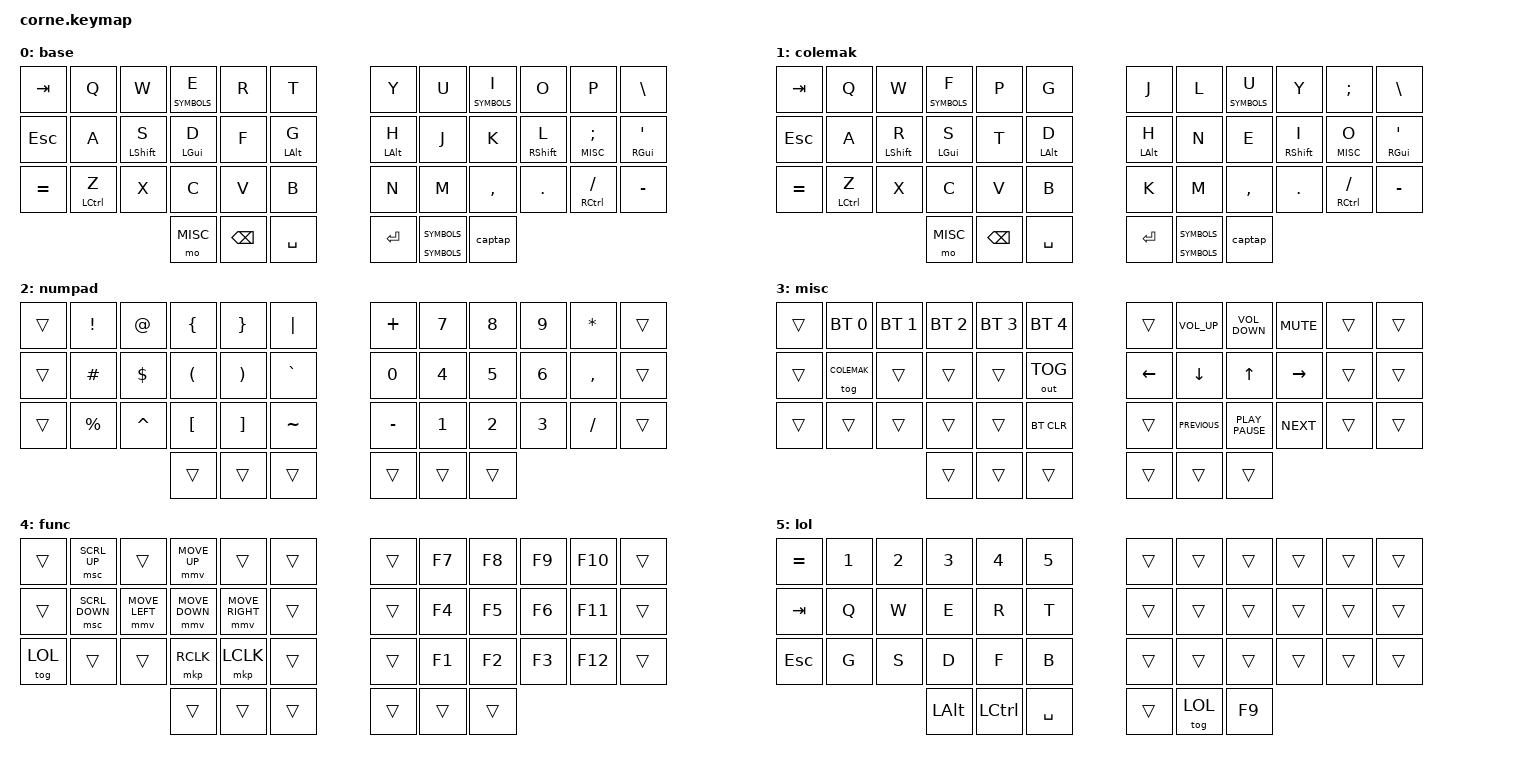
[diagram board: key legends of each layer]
/*
 * Copyright (c) 2020 The ZMK Contributors
 * SPDX-License-Identifier: MIT
 */

#include <behaviors.dtsi>
#include <dt-bindings/zmk/bt.h>
#include <dt-bindings/zmk/keys.h>
#include <dt-bindings/zmk/outputs.h>
#include <dt-bindings/zmk/pointing.h>

#define BASE 0
#define COLEMAK 1
#define SYMBOLS 2
#define MISC 3
#define FUNCTIONS 4
#define LOL 5

#define COMBO_TIMEOUT 70

/* Base layer positions used by combos: top row 1=Q 2=W 3=E 4=R 7=U 8=I; home row 15=D 16=F 18=H 19=J; bottom row 27=C 28=V 30=N 31=M 32=,. */
#define POS_Q 1
#define POS_W 2
#define POS_E 3
#define POS_R 4
#define POS_U 7
#define POS_I 8
#define POS_D 15
#define POS_F 16
#define POS_H 18
#define POS_J 19
#define POS_C 27
#define POS_V 28
#define POS_N 30
#define POS_M 31
#define POS_COMMA 32

/* LOL layer positions used by combos: top row 1=N1; home row 17=T */
#define LOL_POS_N1 1
#define LOL_POS_T 17

&caps_word {
    continue-list = <UNDERSCORE BACKSPACE DELETE MINUS>;
};

/ {
    behaviors {
        ht: hold_tap {
            compatible = "zmk,behavior-hold-tap";
            label = "hold-tap";
            #binding-cells = <2>;
            tapping-term-ms = <220>;
            quick-tap-ms = <200>;
            flavor = "tap-preferred";
            bindings = <&kp>, <&kp>;
        };

        symbol_lt: symbol_layer_tap {
            compatible = "zmk,behavior-hold-tap";
            label = "symbol-layer-tap";
            #binding-cells = <2>;
            tapping-term-ms = <220>;
            quick-tap-ms = <200>;
            flavor = "tap-preferred";
            bindings = <&mo>, <&kp>;
        };

        captap: caps_lock_tap {
            compatible = "zmk,behavior-tap-dance";
            #binding-cells = <0>;
            tapping-term-ms = <200>;
            bindings = <&caps_word>, <&kp CAPSLOCK>;
        };

        symbols_double_tap_toggle: behavior_symbols_double_tap_toggle {
            compatible = "zmk,behavior-tap-dance";
            label = "symbols-double-tap-toggle";
            #binding-cells = <0>;
            tapping-term-ms = <200>;
            bindings = <&none>, <&tog SYMBOLS>;
        };

        symbols_hold_double_tap_toggle: behavior_symbols_hold_double_tap_toggle {
            compatible = "zmk,behavior-hold-tap";
            label = "symbols-hold-double-tap-toggle";
            #binding-cells = <2>;
            flavor = "hold-preferred";
            tapping-term-ms = <200>;
            quick-tap-ms = <175>;
            bindings = <&mo>, <&symbols_double_tap_toggle>;
        };
    };

    conditional_layers {
        compatible = "zmk,conditional-layers";

        tri {
            if-layers = <SYMBOLS MISC>;
            then-layer = <FUNCTIONS>;
        };
    };

    combos {
        compatible = "zmk,combos";

        combo_equals {
            timeout-ms = <COMBO_TIMEOUT>;
            key-positions = <POS_C POS_V>;
            bindings = <&kp EQUAL>;
            layers = <BASE>;
        };

        combo_ampersand_home {
            timeout-ms = <COMBO_TIMEOUT>;
            key-positions = <POS_H POS_J>;
            bindings = <&kp AMPS>;
            layers = <BASE>;
        };

        combo_minus {
            timeout-ms = <COMBO_TIMEOUT>;
            key-positions = <POS_U POS_I>;
            bindings = <&kp MINUS>;
            layers = <BASE>;
        };

        combo_underscore_bottom {
            timeout-ms = <COMBO_TIMEOUT>;
            key-positions = <POS_M POS_COMMA>;
            bindings = <&kp UNDERSCORE>;
            layers = <BASE>;
        };

        combo_globe {
            timeout-ms = <COMBO_TIMEOUT>;
            key-positions = <POS_Q POS_W>;
            bindings = <&kp GLOBE>;
            layers = <BASE>;
        };

        combo_lol_n1_t_p {
            timeout-ms = <COMBO_TIMEOUT>;
            key-positions = <LOL_POS_N1 LOL_POS_T>;
            bindings = <&kp P>;
            layers = <LOL>;
        };
    };

    keymap {
        compatible = "zmk,keymap";

        base {
            display-name = "base";
            bindings = <
//    ┌─────┬────────────┬────────────┬────────────────────────┬──────┬────────────┐   ┌────────────┬─────────────────────────────────────────────────────┬────────────────────────┬────────────┬───────────┬────────────┐
//    │ tab │     Q      │     W      │ &symbol_lt SYMBOlsft E │  R   │     T      │   │     Y      │                          U                          │ &symbol_lt SYMBOlsft I │     O      │     P     │     \      │
//    ├─────┼────────────┼────────────┼────────────────────────┼──────┼────────────┤   ├────────────┼─────────────────────────────────────────────────────┼────────────────────────┼────────────┼───────────┼────────────┤
//    │ esc │     A      │ &ht lsft S │       &ht lgui D       │  F   │ &ht lalt G │   │ &ht lalt H │                          J                          │           K            │ &ht rsft L │ lt MISC ; │ &ht rgui ' │
//    ├─────┼────────────┼────────────┼────────────────────────┼──────┼────────────┤   ├────────────┼─────────────────────────────────────────────────────┼────────────────────────┼────────────┼───────────┼────────────┤
//    │  =  │ &ht lctl Z │     X      │           C            │  V   │     B      │   │     N      │                          M                          │           ,            │     .      │ mt rctl / │     -      │
//    └─────┴────────────┴────────────┼────────────────────────┼──────┼────────────┤   ├────────────┼─────────────────────────────────────────────────────┼────────────────────────┼────────────┴───────────┴────────────┘
//                                    │        mo MISC         │ bspc │    spc     │   │    ent     │ &symbols_hold_double_tap_toggle SYMBOlsft SYMBOlsft │        &captap         │
//                                    └────────────────────────┴──────┴────────────┘   └────────────┴─────────────────────────────────────────────────────┴────────────────────────┘
  &kp TAB      &kp Q         &kp W              &symbol_lt SYMBOLS E   &kp R      &kp T                &kp Y        &kp U                                             &symbol_lt SYMBOLS I   &kp O               &kp P             &kp BACKSLASH
  &kp ESCAPE   &kp A         &ht LEFT_SHIFT S   &ht LEFT_GUI D         &kp F      &ht LEFT_ALT G       &ht LALT H   &kp J                                             &kp K                  &ht RIGHT_SHIFT L   &lt MISC SEMI     &ht RIGHT_GUI SQT
  &kp EQUAL    &ht LCTRL Z   &kp X              &kp C                  &kp V      &kp B                &kp N        &kp M                                             &kp COMMA              &kp DOT             &mt RCTRL SLASH   &kp MINUS
                                                &mo MISC               &kp BSPC   &kp SPACE            &kp RET      &symbols_hold_double_tap_toggle SYMBOLS SYMBOLS   &captap
            >;
        };

        colemak {
            display-name = "colemak";
            bindings = <
//    ┌─────┬────────────┬────────────┬────────────────────────┬──────┬────────────┐   ┌────────────┬─────────────────────────────────────────────────────┬────────────────────────┬────────────┬───────────┬────────────┐
//    │ tab │     Q      │     W      │ &symbol_lt SYMBOlsft F │  P   │     G      │   │     J      │                          L                          │ &symbol_lt SYMBOlsft U │     Y      │     ;     │     \      │
//    ├─────┼────────────┼────────────┼────────────────────────┼──────┼────────────┤   ├────────────┼─────────────────────────────────────────────────────┼────────────────────────┼────────────┼───────────┼────────────┤
//    │ esc │     A      │ &ht lsft R │       &ht lgui S       │  T   │ &ht lalt D │   │ &ht lalt H │                          N                          │           E            │ &ht rsft I │ lt MISC O │ &ht rgui ' │
//    ├─────┼────────────┼────────────┼────────────────────────┼──────┼────────────┤   ├────────────┼─────────────────────────────────────────────────────┼────────────────────────┼────────────┼───────────┼────────────┤
//    │  =  │ &ht lctl Z │     X      │           C            │  V   │     B      │   │     K      │                          M                          │           ,            │     .      │ mt rctl / │     -      │
//    └─────┴────────────┴────────────┼────────────────────────┼──────┼────────────┤   ├────────────┼─────────────────────────────────────────────────────┼────────────────────────┼────────────┴───────────┴────────────┘
//                                    │        mo MISC         │ bspc │    spc     │   │    ent     │ &symbols_hold_double_tap_toggle SYMBOlsft SYMBOlsft │        &captap         │
//                                    └────────────────────────┴──────┴────────────┘   └────────────┴─────────────────────────────────────────────────────┴────────────────────────┘
  &kp TAB      &kp Q         &kp W              &symbol_lt SYMBOLS F   &kp P      &kp G                &kp J        &kp L                                             &symbol_lt SYMBOLS U   &kp Y               &kp SEMI          &kp BACKSLASH
  &kp ESCAPE   &kp A         &ht LEFT_SHIFT R   &ht LEFT_GUI S         &kp T      &ht LEFT_ALT D       &ht LALT H   &kp N                                             &kp E                  &ht RIGHT_SHIFT I   &lt MISC O        &ht RIGHT_GUI SQT
  &kp EQUAL    &ht LCTRL Z   &kp X              &kp C                  &kp V      &kp B                &kp K        &kp M                                             &kp COMMA              &kp DOT             &mt RCTRL SLASH   &kp MINUS
                                                &mo MISC               &kp BSPC   &kp SPACE            &kp RET      &symbols_hold_double_tap_toggle SYMBOLS SYMBOLS   &captap
            >;
        };

        numpad {
            display-name = "numpad";
            bindings = <
//    ┌─────┬───┬───┬─────┬─────┬─────┐   ┌─────┬─────┬─────┬───┬───┬─────┐
//    │     │ ! │ @ │  {  │  }  │  |  │   │  +  │  7  │  8  │ 9 │ * │     │
//    ├─────┼───┼───┼─────┼─────┼─────┤   ├─────┼─────┼─────┼───┼───┼─────┤
//    │     │ # │ $ │  (  │  )  │  `  │   │  0  │  4  │  5  │ 6 │ , │     │
//    ├─────┼───┼───┼─────┼─────┼─────┤   ├─────┼─────┼─────┼───┼───┼─────┤
//    │     │ % │ ^ │  [  │  ]  │  ~  │   │  -  │  1  │  2  │ 3 │ / │     │
//    └─────┴───┴───┼─────┼─────┼─────┤   ├─────┼─────┼─────┼───┴───┴─────┘
//                  │     │     │     │   │     │     │     │
//                  └─────┴─────┴─────┘   └─────┴─────┴─────┘
  &trans   &kp EXCL      &kp AT       &kp LEFT_BRACE         &kp RIGHT_BRACE         &kp PIPE        &kp PLUS    &kp N7   &kp N8   &kp N9   &kp STAR    &trans
  &trans   &kp POUND     &kp DOLLAR   &kp LEFT_PARENTHESIS   &kp RIGHT_PARENTHESIS   &kp GRAVE       &kp N0      &kp N4   &kp N5   &kp N6   &kp COMMA   &trans
  &trans   &kp PERCENT   &kp CARET    &kp LEFT_BRACKET       &kp RIGHT_BRACKET       &kp TILDE       &kp MINUS   &kp N1   &kp N2   &kp N3   &kp SLASH   &trans
                                      &trans                 &trans                  &trans          &trans      &trans   &trans
            >;
        };

        misc {
            display-name = "misc";
            bindings = <
//    ┌─────┬─────────────┬──────────┬──────────┬──────────┬──────────┐   ┌──────┬──────┬──────┬──────┬─────┬─────┐
//    │     │  bt_sel 0   │ bt_sel 1 │ bt_sel 2 │ bt_sel 3 │ bt_sel 4 │   │      │ volu │ vold │ mute │     │     │
//    ├─────┼─────────────┼──────────┼──────────┼──────────┼──────────┤   ├──────┼──────┼──────┼──────┼─────┼─────┤
//    │     │ tog COLEMAK │          │          │          │ out_ tog │   │ left │ down │  up  │ rght │     │     │
//    ├─────┼─────────────┼──────────┼──────────┼──────────┼──────────┤   ├──────┼──────┼──────┼──────┼─────┼─────┤
//    │     │             │          │          │          │  bt_clr  │   │      │ prev │ play │ next │     │     │
//    └─────┴─────────────┴──────────┼──────────┼──────────┼──────────┤   ├──────┼──────┼──────┼──────┴─────┴─────┘
//                                   │          │          │          │   │      │      │      │
//                                   └──────────┴──────────┴──────────┘   └──────┴──────┴──────┘
  &trans   &bt BT_SEL 0   &bt BT_SEL 1   &bt BT_SEL 2   &bt BT_SEL 3   &bt BT_SEL 4       &trans     &kp C_VOLUME_UP   &kp C_VOLUME_DOWN   &kp K_MUTE   &trans   &trans
  &trans   &tog COLEMAK   &trans         &trans         &trans         &out OUT_TOG       &kp LEFT   &kp DOWN          &kp UP              &kp RIGHT    &trans   &trans
  &trans   &trans         &trans         &trans         &trans         &bt BT_CLR         &trans     &kp C_PREVIOUS    &kp K_PLAY_PAUSE    &kp C_NEXT   &trans   &trans
                                         &trans         &trans         &trans             &trans     &trans            &trans
            >;
        };

        functions {
            display-name = "func";
            bindings = <
//    ┌─────────┬────────────────┬────────────────┬────────────────┬────────────────┬─────┐   ┌─────┬─────┬─────┬────┬─────┬─────┐
//    │         │  &msc SCRL_up  │                │  &mmv MOVE_up  │                │     │   │     │ f7  │ f8  │ f9 │ f10 │     │
//    ├─────────┼────────────────┼────────────────┼────────────────┼────────────────┼─────┤   ├─────┼─────┼─────┼────┼─────┼─────┤
//    │         │ &msc SCRL_down │ &mmv MOVE_left │ &mmv MOVE_down │ &mmv MOVE_rght │     │   │     │ f4  │ f5  │ f6 │ f11 │     │
//    ├─────────┼────────────────┼────────────────┼────────────────┼────────────────┼─────┤   ├─────┼─────┼─────┼────┼─────┼─────┤
//    │ tog LOL │                │                │      rclk      │      lclk      │     │   │     │ f1  │ f2  │ f3 │ f12 │     │
//    └─────────┴────────────────┴────────────────┼────────────────┼────────────────┼─────┤   ├─────┼─────┼─────┼────┴─────┴─────┘
//                                                │                │                │     │   │     │     │     │
//                                                └────────────────┴────────────────┴─────┘   └─────┴─────┴─────┘
  &trans     &msc SCRL_UP     &trans           &mmv MOVE_UP     &trans            &trans       &trans   &kp F7   &kp F8   &kp F9   &kp F10   &trans
  &trans     &msc SCRL_DOWN   &mmv MOVE_LEFT   &mmv MOVE_DOWN   &mmv MOVE_RIGHT   &trans       &trans   &kp F4   &kp F5   &kp F6   &kp F11   &trans
  &tog LOL   &trans           &trans           &mkp RCLK        &mkp LCLK         &trans       &trans   &kp F1   &kp F2   &kp F3   &kp F12   &trans
                                               &trans           &trans            &trans       &trans   &trans   &trans
            >;
        };

        lol {
            display-name = "lol";
            bindings = <
//    ┌─────┬───┬───┬──────┬──────┬─────┐   ┌─────┬─────────┬─────┬─────┬─────┬─────┐
//    │  =  │ 1 │ 2 │  3   │  4   │  5  │   │     │         │     │     │     │     │
//    ├─────┼───┼───┼──────┼──────┼─────┤   ├─────┼─────────┼─────┼─────┼─────┼─────┤
//    │ tab │ Q │ W │  E   │  R   │  T  │   │     │         │     │     │     │     │
//    ├─────┼───┼───┼──────┼──────┼─────┤   ├─────┼─────────┼─────┼─────┼─────┼─────┤
//    │ esc │ G │ S │  D   │  F   │  B  │   │     │         │     │     │     │     │
//    └─────┴───┴───┼──────┼──────┼─────┤   ├─────┼─────────┼─────┼─────┴─────┴─────┘
//                  │ lalt │ lctl │ spc │   │     │ tog LOL │ f9  │
//                  └──────┴──────┴─────┘   └─────┴─────────┴─────┘
  &kp EQUAL   &kp N1   &kp N2   &kp N3         &kp N4      &kp N5          &trans   &trans     &trans   &trans   &trans   &trans
  &kp TAB     &kp Q    &kp W    &kp E          &kp R       &kp T           &trans   &trans     &trans   &trans   &trans   &trans
  &kp ESC     &kp G    &kp S    &kp D          &kp F       &kp B           &trans   &trans     &trans   &trans   &trans   &trans
                                &kp LEFT_ALT   &kp LCTRL   &kp SPACE       &trans   &tog LOL   &kp F9
            >;
        };
    };
};
